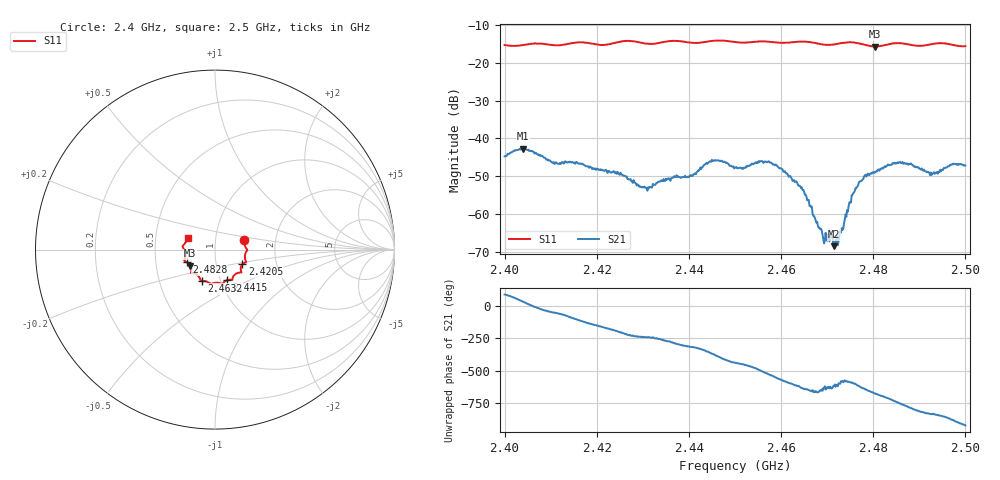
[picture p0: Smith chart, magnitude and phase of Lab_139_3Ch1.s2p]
# Hz S RI R 50
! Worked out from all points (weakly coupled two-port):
!   601 points, 2.4 GHz to 2.5 GHz, reference 50 ohm
!   highest |S21| = -42.74 dB at 2.404 GHz (marker M1); lowest = -68.6 dB at 2.4715 GHz (marker M2)
!   lowest |S11| = -15.7 dB at 2.4803 GHz (marker M3), VSWR 1.39, Z = 37.4 - j6.83 ohm
!   |S11| at or under -10 dB: start of sweep to end of sweep
!   S12 and S22 are empty: the file has one direction only
!   S11 on the Smith chart (normalised r, x): 2.4 GHz: 1.38, +0.15; 2.4205 GHz: 1.34, -0.23; 2.4415 GHz: 1.07, -0.38; 2.4632 GHz: 0.82, -0.29; 2.4828 GHz: 0.72, -0.10; 2.5 GHz: 0.73, +0.10
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2.4e9  0.1635 0.0517  0.000403 0.00576  0 0  0 0
2.404e9  0.1716 0.0103  0.00627 0.00372  0 0  0 0
2.4105e9  0.1697 -0.0206  0.00291 -0.00375  0 0  0 0
2.416667e9  0.173 -0.07  -0.00215 -0.00403  0 0  0 0
2.4205e9  0.152 -0.0817  -0.00351 -0.00143  0 0  0 0
2.4305e9  0.1231 -0.1312  -0.00106 0.00195  0 0  0 0
2.433333e9  0.1003 -0.1517  -0.000613 0.00259  0 0  0 0
2.4415e9  0.0656 -0.1707  0.00269 0.00198  0 0  0 0
2.4455e9  0.0421 -0.1914  0.00493 -0.00138  0 0  0 0
2.45e9  0.0243 -0.1862  0.00076 -0.00403  0 0  0 0
2.4575e9  -0.0288 -0.1874  -0.00472 -0.000793  0 0  0 0
2.463167e9  -0.0731 -0.174  -0.000813 0.00254  0 0  0 0
2.466667e9  -0.0822 -0.1669  0.000531 0.00113  0 0  0 0
2.4695e9  -0.0948 -0.1449  -7.75e-05 0.000434  0 0  0 0
2.4715e9  -0.1137 -0.1328  -7.53e-05 0.000365  0 0  0 0
2.472833e9  -0.1254 -0.1301  -0.000296 0.00052  0 0  0 0
2.476667e9  -0.1325 -0.1248  -0.000666 0.00224  0 0  0 0
2.480333e9  -0.1378 -0.089  0.00248 0.00246  0 0  0 0
2.482833e9  -0.1585 -0.0701  0.00415 0.000957  0 0  0 0
2.483333e9  -0.1624 -0.068  0.00443 0.000478  0 0  0 0
2.492833e9  -0.1768 0.00841  -0.00144 -0.00308  0 0  0 0
2.5e9  -0.1527 0.0645  -0.00406 0.00159  0 0  0 0
